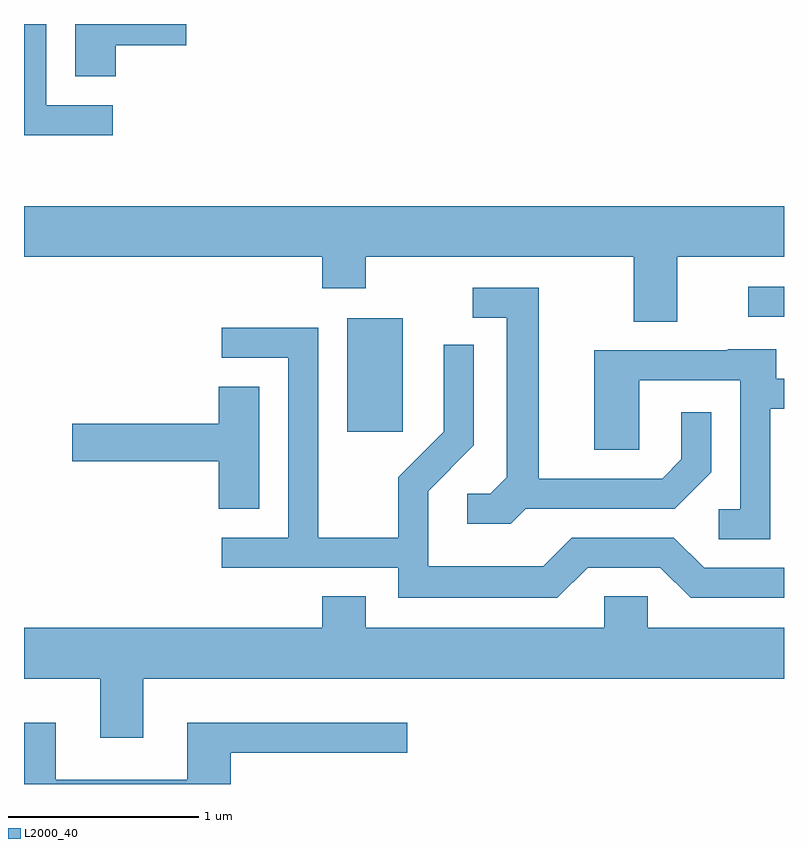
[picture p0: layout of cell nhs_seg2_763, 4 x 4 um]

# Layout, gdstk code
import gdstk
lib = gdstk.Library(unit=1e-6, precision=1e-09)
def R(c, l, rs):  # rectangles x0, y0, x1, y1
    for r in rs: c.add(gdstk.rectangle(r[:2], r[2:], *l))
def P(c, l, *ps):  # polygons
    for p in ps: c.add(gdstk.Polygon(p, *l))
L2000_40 = (2000, 40)

nhs_seg2_763 = lib.new_cell('nhs_seg2_763')
R(nhs_seg2_763, L2000_40, [(209.311,1009.656,209.604,1010.254), (211.423,1010.261,211.611,1010.419)])
P(nhs_seg2_763, L2000_40, [(208.078,1011.374),(207.729,1011.374),(207.729,1011.802),(207.611,1011.802),(207.611,1011.216),(208.078,1011.216)],
  [(208.094,1011.691),(208.464,1011.691),(208.464,1011.802),(207.881,1011.802),(207.881,1011.526),(208.094,1011.526)],
  [(211.049,1010.576),(211.611,1010.576),(211.611,1010.844),(207.611,1010.844),(207.611,1010.576),(209.181,1010.576),(209.181,1010.411),(209.409,1010.411),(209.409,1010.576),(210.821,1010.576),(210.821,1010.236),(211.049,1010.236)],
  [(210.252,1009.251),(211.037,1009.251),(211.229,1009.444),(211.229,1009.758),(211.071,1009.758),(211.071,1009.512),(210.969,1009.409),(210.319,1009.409),(210.319,1010.414),(209.973,1010.414),(209.973,1010.256),(210.151,1010.256),(210.151,1009.417),(210.064,1009.329),(209.943,1009.329),(209.943,1009.171),(210.172,1009.171)],
  [(210.577,1008.941),(210.959,1008.941),(211.119,1008.781),(211.611,1008.781),(211.611,1008.939),(211.192,1008.939),(211.032,1009.099),(210.494,1009.099),(210.344,1008.949),(209.739,1008.949),(209.739,1009.344),(209.979,1009.584),(209.979,1010.113),(209.821,1010.113),(209.821,1009.657),(209.581,1009.417),(209.581,1009.099),(209.159,1009.099),(209.159,1010.204),(208.653,1010.204),(208.653,1010.046),(209.001,1010.046),(209.001,1009.099),(208.653,1009.099),(208.653,1008.941),(209.581,1008.941),(209.581,1008.781),(210.417,1008.781)],
  [(211.539,1009.776),(211.611,1009.776),(211.611,1009.934),(211.569,1009.934),(211.569,1010.089),(211.315,1010.089),(211.315,1010.084),(210.611,1010.084),(210.611,1009.561),(210.849,1009.561),(210.849,1009.926),(211.381,1009.926),(211.381,1009.249),(211.268,1009.249),(211.268,1009.091),(211.539,1009.091)],
  [(208.849,1009.894),(208.636,1009.894),(208.636,1009.699),(207.866,1009.699),(207.866,1009.501),(208.636,1009.501),(208.636,1009.251),(208.849,1009.251)],
  [(208.239,1008.356),(211.611,1008.356),(211.611,1008.624),(210.894,1008.624),(210.894,1008.789),(210.666,1008.789),(210.666,1008.624),(209.409,1008.624),(209.409,1008.789),(209.181,1008.789),(209.181,1008.624),(207.611,1008.624),(207.611,1008.356),(208.011,1008.356),(208.011,1008.046),(208.239,1008.046)],
  [(208.699,1007.966),(209.628,1007.966),(209.628,1008.124),(208.471,1008.124),(208.471,1007.824),(207.779,1007.824),(207.779,1008.124),(207.611,1008.124),(207.611,1007.802),(208.699,1007.802)])

lib.write_gds('nhs_seg2_763.gds')
